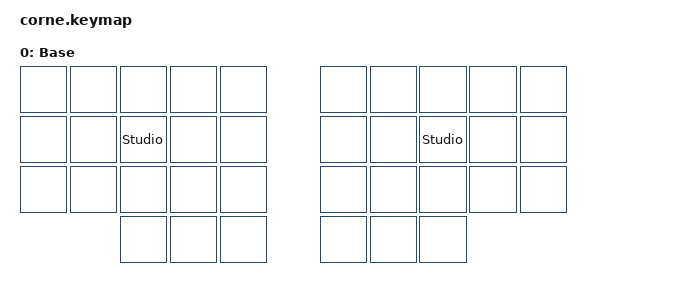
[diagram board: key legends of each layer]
/*
 * Copyright (c) 2020 The ZMK Contributors
 *
 * SPDX-License-Identifier: MIT
 */

#include <behaviors.dtsi>
#include <dt-bindings/zmk/keys.h>
#include <dt-bindings/zmk/bt.h>
#define AS(keycode) &as LS(keycode) keycode

&mt {
    tapping-term-ms = <800>;
            }; 

/ {
    chosen {
    zmk,physical-layout = &foostan_corne_5col_layout;
    };

    behaviors {
        as: auto_shift {
            compatible = "zmk,behavior-hold-tap";
            #binding-cells = <2>;
            display-name = "Auto Shift";
            tapping_term_ms = <300>;
            quick_tap_ms = <0>;
            flavor = "tap-preferred";
            bindings = <&kp>, <&kp>;
             };
        };

keymap {
                compatible = "zmk,keymap";
        layer1 {
            display-name = "Base";
            bindings = <
    &none &none &none &none &none &none &none &none &none &none
    &none &none &studio_unlock &none &none &none &none &studio_unlock &none &none
    &none &none &none &none &none &none &none &none &none &none
    &none &none &none &none &none &none
                         >;
};

        layer2 {
            status = "reserved";
        };
        layer3 {
            status = "reserved";
        };
        layer4 {
            status = "reserved";
        };
        layer5 {
            status = "reserved";
        };
        layer6 {
            status = "reserved";
        };
        layer7 {
            status = "reserved";
        };
        layer8 {
            status = "reserved";
        };
        layer9 {
            status = "reserved";
        };
        layer10 {
            status = "reserved";
        };
        };
};
